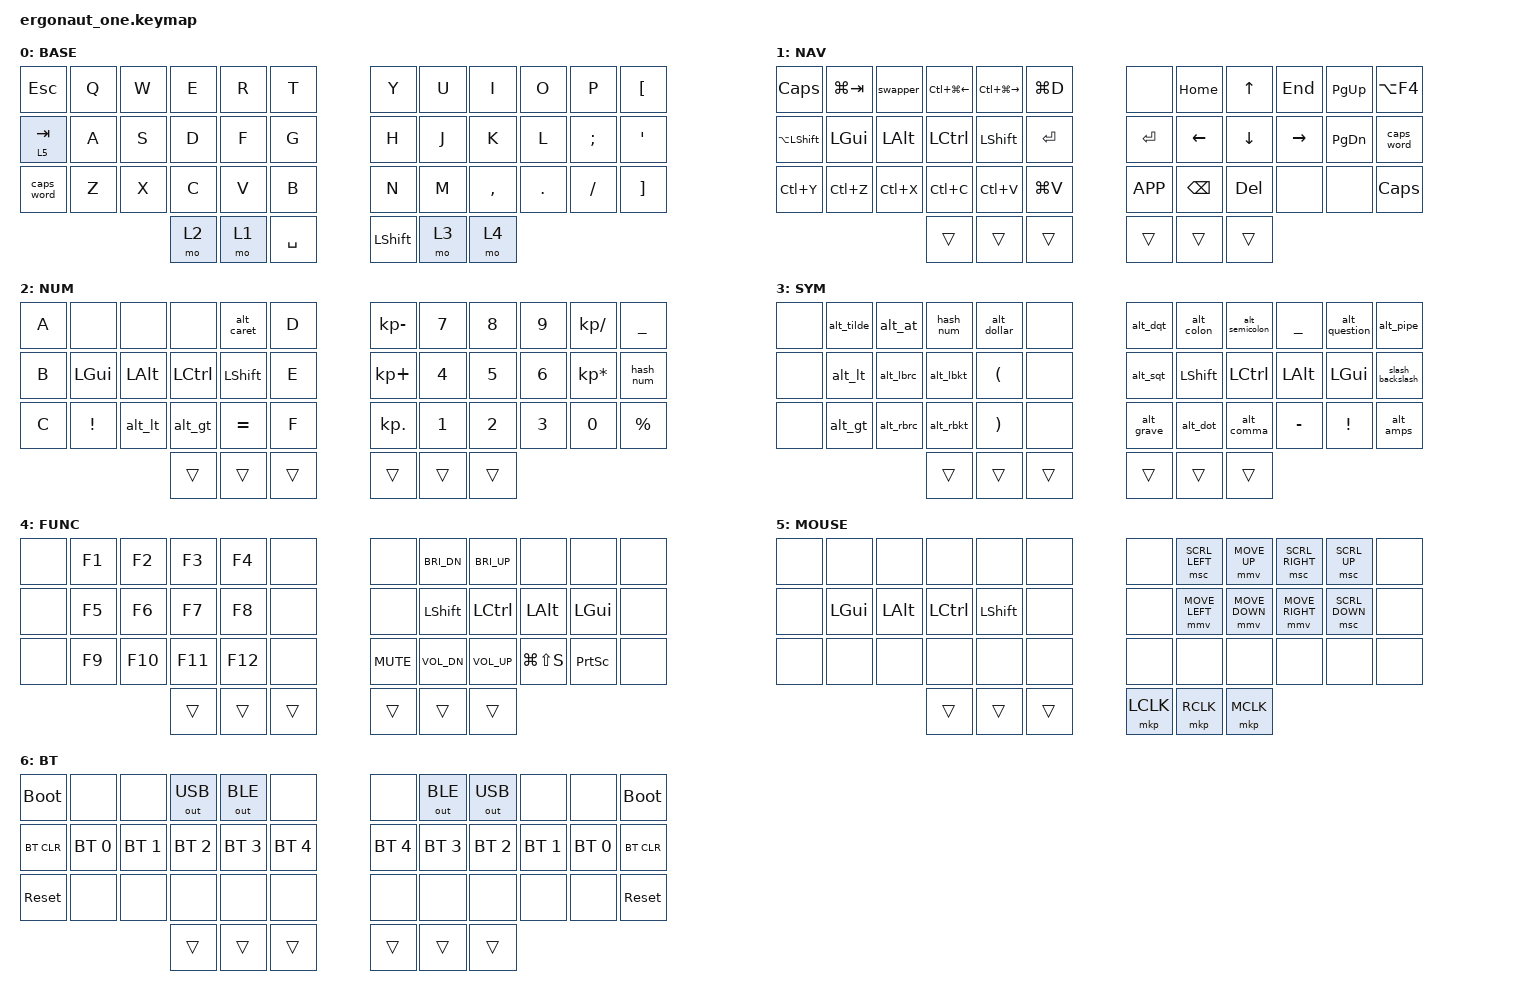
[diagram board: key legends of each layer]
#define ZMK_MOUSE_DEFAULT_MOVE_VAL 800  // 600
#define ZMK_MOUSE_DEFAULT_SCRL_VAL 20   // 10

#include <behaviors/mouse_keys.dtsi>
#include <behaviors.dtsi>
#include <dt-bindings/zmk/bt.h>
#include <dt-bindings/zmk/keys.h>
#include <dt-bindings/zmk/mouse.h>
#include <dt-bindings/zmk/outputs.h>

#define DEF 0
#define LWR 1
#define RSE 2
#define ADJ 3

&lt { quick-tap-ms = <200>; };

&mt { quick-tap-ms = <200>; };

&mmv {
    acceleration-exponent = <1>;  // 1
    time-to-max-speed-ms = <300>; // 300
    delay-ms = <0>;
    trigger-period-ms = <8>;      // 16
};

&msc {
    acceleration-exponent = <1>;  // 0
    time-to-max-speed-ms = <40>;  // 300
    delay-ms = <0>;
    trigger-period-ms = <8>;      // 16
};

/ {
    conditional_layers {
        compatible = "zmk,conditional-layers";

        bluetooth_left {
            if-layers = <1 2>;
            then-layer = <6>;
        };

        bluetooth_right {
            if-layers = <4 3>;
            then-layer = <6>;
        };
    };

    macros {
        alt_sqt: alt_single_quote {
            compatible = "zmk,behavior-macro";
            #binding-cells = <0>;
            bindings =
                <&macro_press>,
                <&kp LALT>,
                <&macro_tap>,
                <&kp KP_N3 &kp KP_N9>,
                <&macro_release>,
                <&kp LALT>;

            label = "ALT_SINGLE_QUOTE";
        };

        alt_dqt: alt_double_quotes {
            compatible = "zmk,behavior-macro";
            #binding-cells = <0>;
            bindings =
                <&macro_press>,
                <&kp LALT>,
                <&macro_tap>,
                <&kp KP_N3 &kp KP_N4>,
                <&macro_release>,
                <&kp LALT>;

            label = "ALT_DOUBLE_QUOTES";
        };

        alt_grave: alt_grave {
            compatible = "zmk,behavior-macro";
            #binding-cells = <0>;
            bindings =
                <&macro_press>,
                <&kp LALT>,
                <&macro_tap>,
                <&kp KP_N9 &kp KP_N6>,
                <&macro_release>,
                <&kp LALT>;

            label = "ALT_GRAVE";
        };

        alt_lbkt: alt_left_bracket {
            compatible = "zmk,behavior-macro";
            #binding-cells = <0>;
            bindings =
                <&macro_press>,
                <&kp LALT>,
                <&macro_tap>,
                <&kp KP_N9 &kp KP_N1>,
                <&macro_release>,
                <&kp LALT>;

            label = "ALT_LEFT_BRACKET";
        };

        alt_rbkt: alt_right_bracket {
            compatible = "zmk,behavior-macro";
            #binding-cells = <0>;
            bindings =
                <&macro_press>,
                <&kp LALT>,
                <&macro_tap>,
                <&kp KP_N9 &kp KP_N3>,
                <&macro_release>,
                <&kp LALT>;

            label = "ALT_RIGHT_BRACKET";
        };

        alt_lbrc: alt_left_brace {
            compatible = "zmk,behavior-macro";
            #binding-cells = <0>;
            bindings =
                <&macro_press>,
                <&kp LALT>,
                <&macro_tap>,
                <&kp KP_N1 &kp KP_N2 &kp KP_N3>,
                <&macro_release>,
                <&kp LALT>;

            label = "ALT_LEFT_BRACE";
        };

        alt_rbrc: alt_right_brace {
            compatible = "zmk,behavior-macro";
            #binding-cells = <0>;
            bindings =
                <&macro_press>,
                <&kp LALT>,
                <&macro_tap>,
                <&kp KP_N1 &kp KP_N2 &kp KP_N5>,
                <&macro_release>,
                <&kp LALT>;

            label = "ALT_RIGHT_BRACE";
        };

        alt_lt: alt_less_than {
            compatible = "zmk,behavior-macro";
            #binding-cells = <0>;
            bindings =
                <&macro_press>,
                <&kp LALT>,
                <&macro_tap>,
                <&kp KP_N6 &kp KP_N0>,
                <&macro_release>,
                <&kp LALT>;

            label = "ALT_LESS_THAN";
        };

        alt_gt: alt_greater_than {
            compatible = "zmk,behavior-macro";
            #binding-cells = <0>;
            bindings =
                <&macro_press>,
                <&kp LALT>,
                <&macro_tap>,
                <&kp KP_N6 &kp KP_N2>,
                <&macro_release>,
                <&kp LALT>;

            label = "ALT_GREATER_THAN";
        };

        alt_comma: alt_comma {
            compatible = "zmk,behavior-macro";
            #binding-cells = <0>;
            bindings =
                <&macro_press>,
                <&kp LALT>,
                <&macro_tap>,
                <&kp KP_N4 &kp KP_N4>,
                <&macro_release>,
                <&kp LALT>;

            label = "ALT_COMMA";
        };

        alt_dot: alt_dot {
            compatible = "zmk,behavior-macro";
            #binding-cells = <0>;
            bindings =
                <&macro_press>,
                <&kp LALT>,
                <&macro_tap>,
                <&kp KP_N4 &kp KP_N6>,
                <&macro_release>,
                <&kp LALT>;

            label = "ALT_DOT";
        };

        alt_colon: alt_colon {
            compatible = "zmk,behavior-macro";
            #binding-cells = <0>;
            bindings =
                <&macro_press>,
                <&kp LALT>,
                <&macro_tap>,
                <&kp KP_N5 &kp KP_N8>,
                <&macro_release>,
                <&kp LALT>;

            label = "ALT_COLON";
        };

        alt_semicolon: alt_semicolon {
            compatible = "zmk,behavior-macro";
            #binding-cells = <0>;
            bindings =
                <&macro_press>,
                <&kp LALT>,
                <&macro_tap>,
                <&kp KP_N5 &kp KP_N9>,
                <&macro_release>,
                <&kp LALT>;

            label = "ALT_SEMICOLON";
        };

        alt_amps: alt_ampersand {
            compatible = "zmk,behavior-macro";
            #binding-cells = <0>;
            bindings =
                <&macro_press>,
                <&kp LALT>,
                <&macro_tap>,
                <&kp KP_N3 &kp KP_N8>,
                <&macro_release>,
                <&kp LALT>;

            label = "ALT_AMPERSAND";
        };

        alt_pipe: alt_pipe {
            compatible = "zmk,behavior-macro";
            #binding-cells = <0>;
            bindings =
                <&macro_press>,
                <&kp LALT>,
                <&macro_tap>,
                <&kp KP_N1 &kp KP_N2 &kp KP_N4>,
                <&macro_release>,
                <&kp LALT>;

            label = "ALT_PIPE";
        };

        alt_dollar: alt_dollar {
            compatible = "zmk,behavior-macro";
            #binding-cells = <0>;
            bindings =
                <&macro_press>,
                <&kp LALT>,
                <&macro_tap>,
                <&kp KP_N3 &kp KP_N6>,
                <&macro_release>,
                <&kp LALT>;

            label = "ALT_DOLLAR";
        };

        alt_hash: alt_hash {
            compatible = "zmk,behavior-macro";
            #binding-cells = <0>;
            bindings =
                <&macro_press>,
                <&kp LALT>,
                <&macro_tap>,
                <&kp KP_N3 &kp KP_N5>,
                <&macro_release>,
                <&kp LALT>;

            label = "ALT_HASH";
        };

        alt_num: alt_num {
            compatible = "zmk,behavior-macro";
            #binding-cells = <0>;
            bindings =
                <&macro_press>,
                <&kp LALT>,
                <&macro_tap>,
                <&kp KP_N2 &kp KP_N5 &kp KP_N2>,
                <&macro_release>,
                <&kp LALT>;

            label = "ALT_NUM";
        };

        alt_at: alt_at {
            compatible = "zmk,behavior-macro";
            #binding-cells = <0>;
            bindings =
                <&macro_press>,
                <&kp LALT>,
                <&macro_tap>,
                <&kp KP_N6 &kp KP_N4>,
                <&macro_release>,
                <&kp LALT>;

            label = "ALT_AT";
        };

        alt_tilde: alt_tilde {
            compatible = "zmk,behavior-macro";
            #binding-cells = <0>;
            bindings =
                <&macro_press>,
                <&kp LALT>,
                <&macro_tap>,
                <&kp KP_N1 &kp KP_N2 &kp KP_N6>,
                <&macro_release>,
                <&kp LALT>;

            label = "ALT_TILDE";
        };

        alt_caret: alt_caret {
            compatible = "zmk,behavior-macro";
            #binding-cells = <0>;
            bindings =
                <&macro_press>,
                <&kp LALT>,
                <&macro_tap>,
                <&kp KP_N9 &kp KP_N4>,
                <&macro_release>,
                <&kp LALT>;

            label = "ALT_CARET";
        };

        alt_question: alt_question {
            compatible = "zmk,behavior-macro";
            #binding-cells = <0>;
            bindings =
                <&macro_press>,
                <&kp LALT>,
                <&macro_tap>,
                <&kp KP_N6 &kp KP_N3>,
                <&macro_release>,
                <&kp LALT>;

            label = "ALT_QUESTION";
        };

        alt_backslash: alt_backslash {
            compatible = "zmk,behavior-macro";
            #binding-cells = <0>;
            bindings =
                <&macro_press>,
                <&kp LALT>,
                <&macro_tap>,
                <&kp KP_N9 &kp KP_N2>,
                <&macro_release>,
                <&kp LALT>;

            label = "ALT_BACKSLASH";
        };
    };

    combos {
        compatible = "zmk,combos";

        combo_dot {
            bindings = <&alt_dot>;
            key-positions = <31 19>;
            layers = <0>;
        };

        combo_colon {
            bindings = <&alt_colon>;
            key-positions = <19 7>;
            layers = <0>;
        };

        combo_comma {
            bindings = <&alt_comma>;
            key-positions = <20 32>;
            layers = <0>;
        };

        combo_semicolon {
            bindings = <&alt_semicolon>;
            key-positions = <20 8>;
            layers = <0>;
        };

        combo_exclamation {
            bindings = <&kp EXCL>;
            key-positions = <21 33>;
            layers = <0>;
        };

        combo_question {
            bindings = <&alt_question>;
            key-positions = <21 9>;
            layers = <0>;
        };

        combo_single_quote {
            bindings = <&alt_sqt>;
            key-positions = <18 19>;
            layers = <0>;
        };

        combo_double_quotes {
            bindings = <&alt_dqt>;
            key-positions = <6 7>;
            layers = <0>;
        };

        combo_grave {
            bindings = <&alt_grave>;
            key-positions = <30 31>;
            layers = <0>;
        };

        combo_left_bracket {
            bindings = <&alt_lbkt>;
            key-positions = <4 5>;
            layers = <0>;
        };

        combo_left_brace {
            bindings = <&alt_lbrc>;
            key-positions = <28 29>;
            layers = <0>;
        };

        combo_left_parenthesis {
            bindings = <&kp LPAR>;
            key-positions = <16 17>;
            layers = <0>;
        };

        combo_plus {
            bindings = <&kp KP_PLUS>;
            key-positions = <16 28>;
            layers = <0>;
        };

        combo_minus {
            bindings = <&kp KP_MINUS>;
            key-positions = <16 4>;
            layers = <0>;
        };

        combo_multiply {
            bindings = <&kp KP_MULTIPLY>;
            key-positions = <15 27>;
            layers = <0>;
        };

        combo_divide {
            bindings = <&kp KP_DIVIDE>;
            key-positions = <15 3>;
            layers = <0>;
        };

        combo_ampersand {
            bindings = <&alt_amps>;
            key-positions = <17 29>;
            layers = <0>;
        };

        combo_pipe {
            bindings = <&alt_pipe>;
            key-positions = <5 17>;
            layers = <0>;
        };
    };

    behaviors {
        swapper: swapper {
            compatible = "zmk,behavior-tri-state";
            label = "SWAPPER";
            #binding-cells = <0>;
            bindings = <&kt LALT>, <&kp TAB>, <&kt LALT>;

            ignored-key-positions = <8 19 20 21>;
        };

        hash_num: hash_num {
            compatible = "zmk,behavior-mod-morph";
            #binding-cells = <0>;
            bindings = <&alt_hash>, <&alt_num>;

            mods = <(MOD_LSFT)>;
        };

        slash_backslash: slash_backslash {
            compatible = "zmk,behavior-mod-morph";
            #binding-cells = <0>;
            bindings = <&kp KP_SLASH>, <&alt_backslash>;

            mods = <(MOD_LSFT)>;
            label = "SLASH_BACKSLASH";
        };
    };

    keymap {
        compatible = "zmk,keymap";

        BASE {
            bindings = <
&kp ESC     &kp Q  &kp W  &kp E  &kp R  &kp T      &kp Y      &kp U  &kp I      &kp O    &kp P     &kp LBKT
&lt 5 TAB   &kp A  &kp S  &kp D  &kp F  &kp G      &kp H      &kp J  &kp K      &kp L    &kp SEMI  &kp SQT
&caps_word  &kp Z  &kp X  &kp C  &kp V  &kp B      &kp N      &kp M  &kp COMMA  &kp DOT  &kp FSLH  &kp RBKT
                          &mo 2  &mo 1  &kp SPACE  &kp LSHFT  &mo 3  &mo 4
            >;
        };

        NAV {
            bindings = <
&kp CAPS       &kp LG(TAB)  &swapper   &kp LC(LG(LEFT))  &kp LC(LG(RIGHT))  &kp LG(D)  &none      &kp HOME  &kp UP    &kp END    &kp PG_UP  &kp LA(F4)
&kp LA(LSHFT)  &kp LGUI     &kp LALT   &kp LCTRL         &kp LSHFT          &kp ENTER  &kp RET    &kp LEFT  &kp DOWN  &kp RIGHT  &kp PG_DN  &caps_word
&kp LC(Y)      &kp LC(Z)    &kp LC(X)  &kp LC(C)         &kp LC(V)          &kp LG(V)  &kp K_APP  &kp BSPC  &kp DEL   &none      &none      &kp CAPS
                                       &trans            &trans             &trans     &trans     &trans    &trans
            >;
        };

        NUM {
            bindings = <
&kp A  &none     &none     &none      &alt_caret  &kp D   &kp KP_MINUS  &kp N7  &kp N8  &kp N9  &kp KP_SLASH     &kp UNDER
&kp B  &kp LGUI  &kp LALT  &kp LCTRL  &kp LSHFT   &kp E   &kp KP_PLUS   &kp N4  &kp N5  &kp N6  &kp KP_MULTIPLY  &hash_num
&kp C  &kp EXCL  &alt_lt   &alt_gt    &kp EQUAL   &kp F   &kp KP_DOT    &kp N1  &kp N2  &kp N3  &kp N0           &kp PRCNT
                           &trans     &trans      &trans  &trans        &trans  &trans
            >;
        };

        SYM {
            bindings = <
&none  &alt_tilde  &alt_at    &hash_num  &alt_dollar  &none   &alt_dqt    &alt_colon  &alt_semicolon  &kp UNDERSCORE  &alt_question  &alt_pipe
&none  &alt_lt     &alt_lbrc  &alt_lbkt  &kp LPAR     &none   &alt_sqt    &kp LSHFT   &kp LCTRL       &kp LALT        &kp LGUI       &slash_backslash
&none  &alt_gt     &alt_rbrc  &alt_rbkt  &kp RPAR     &none   &alt_grave  &alt_dot    &alt_comma      &kp MINUS       &kp EXCL       &alt_amps
                              &trans     &trans       &trans  &trans      &trans      &trans
            >;
        };

        FUNC {
            bindings = <
&none  &kp F1  &kp F2   &kp F3   &kp F4   &none   &none       &kp C_BRI_DN  &kp C_BRI_UP  &none          &none      &none
&none  &kp F5  &kp F6   &kp F7   &kp F8   &none   &none       &kp LSHFT     &kp LCTRL     &kp LALT       &kp LGUI   &none
&none  &kp F9  &kp F10  &kp F11  &kp F12  &none   &kp C_MUTE  &kp C_VOL_DN  &kp C_VOL_UP  &kp LG(LS(S))  &kp PSCRN  &none
                        &trans   &trans   &trans  &trans      &trans        &trans
            >;
        };

        MOUSE {
            bindings = <
&none  &none     &none     &none      &none      &none   &none      &msc SCRL_LEFT  &mmv MOVE_UP    &msc SCRL_RIGHT  &msc SCRL_UP    &none
&none  &kp LGUI  &kp LALT  &kp LCTRL  &kp LSHFT  &none   &none      &mmv MOVE_LEFT  &mmv MOVE_DOWN  &mmv MOVE_RIGHT  &msc SCRL_DOWN  &none
&none  &none     &none     &none      &none      &none   &none      &none           &none           &none            &none           &none
                           &trans     &trans     &trans  &mkp LCLK  &mkp RCLK       &mkp MCLK
            >;
        };

        BT {
            bindings = <
&bootloader  &none         &none         &out OUT_USB  &out OUT_BLE  &none         &none         &out OUT_BLE  &out OUT_USB  &none         &none         &bootloader
&bt BT_CLR   &bt BT_SEL 0  &bt BT_SEL 1  &bt BT_SEL 2  &bt BT_SEL 3  &bt BT_SEL 4  &bt BT_SEL 4  &bt BT_SEL 3  &bt BT_SEL 2  &bt BT_SEL 1  &bt BT_SEL 0  &bt BT_CLR
&sys_reset   &none         &none         &none         &none         &none         &none         &none         &none         &none         &none         &sys_reset
                                         &trans        &trans        &trans        &trans        &trans        &trans
            >;
        };
    };
};
